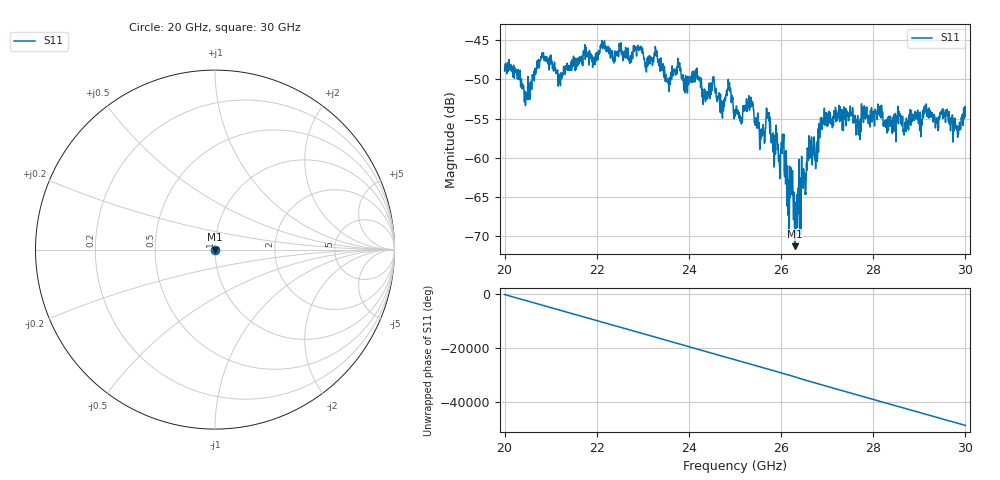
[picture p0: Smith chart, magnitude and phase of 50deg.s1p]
#  HZ  S  RI  R  50.00
! Rohde & Schwarz ZVA40 4Ports - Version 3.90 - 1145.1110k42 SN: 100403
! Date: 2023-10-03 11:59:15
! Measurement: S12
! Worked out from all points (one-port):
!   5001 points, 20 GHz to 30 GHz, reference 50 ohm
!   lowest |S11| = -71.3 dB at 26.3 GHz (marker M1), VSWR 1.00, Z = 50 - j0.0273 ohm
!   |S11| at or under -10 dB: start of sweep to end of sweep
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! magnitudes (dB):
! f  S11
! 20 GHz  -48.9
! 20.48 GHz  -52.1
! 20.81 GHz  -46.8
! 21.25 GHz  -49.6
! 22.12 GHz  -46.1
! 22.5 GHz  -45.6
! 23.29 GHz  -46.7
! 23.55 GHz  -50.2
! 23.75 GHz  -48.8
! 24.35 GHz  -52.0
! 24.54 GHz  -49.7
! 24.72 GHz  -53.3
! 24.86 GHz  -50.6
! 25 GHz  -54.7
! 25.34 GHz  -53.2
! 25.58 GHz  -57.3
! 25.72 GHz  -54.6
! 25.83 GHz  -56.8
! 26.04 GHz  -58.4
! 26.13 GHz  -61.9
! 26.25 GHz  -62.2
! 26.3 GHz  -71.3
! 26.61 GHz  -57.9
! 26.77 GHz  -58.2
! 26.9 GHz  -55.9
! 27.5 GHz  -53.5
! 28.75 GHz  -55.2
! 30 GHz  -54.7
